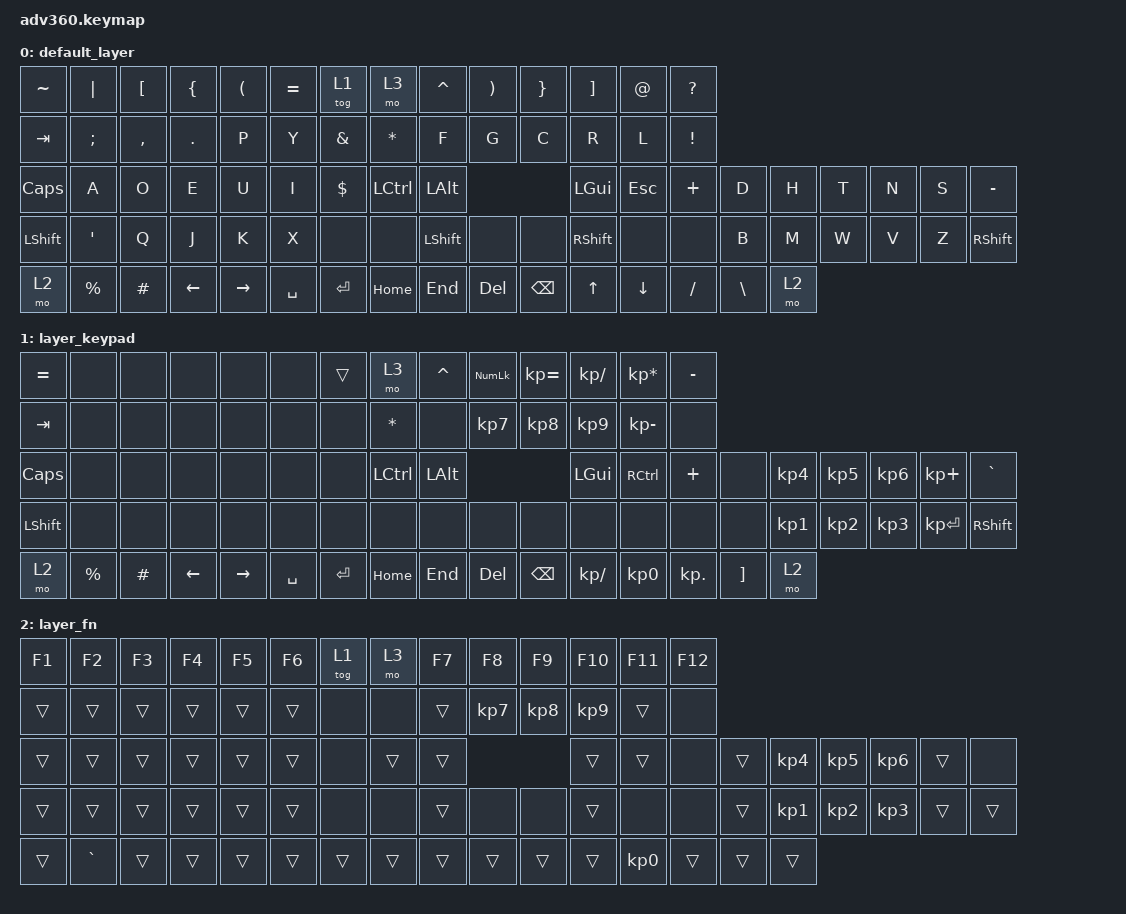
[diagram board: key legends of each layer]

/*
 * Copyright (c) 2020 The ZMK Contributors
 *
 * SPDX-License-Identifier: MIT
 */


/* THIS FILE WAS GENERATED!
 *
 * This file was generated automatically. You may or may not want to
 * edit it directly.
 */

#include <behaviors.dtsi>
#include <dt-bindings/zmk/keys.h>

/ {
  behaviors {
    #include "macros.dtsi"

    hm: homerow_mods {
        compatible = "zmk,behavior-hold-tap";
        label = "HOMEROW_MODS";
        #binding-cells = <2>;
        tapping-term-ms = <200>;
        quick_tap_ms = <175>;
        flavor = "tap-preferred";
        bindings = <&kp>, <&kp>;
    };
  };

    keymap {
        compatible = "zmk,keymap";


        default_layer {
            bindings = <
 &kp TILDE          &kp PIPE  &kp LEFT_BRACKET  &kp LEFT_BRACE  &kp LEFT_PARENTHESIS  &kp EQUAL                   &tog 1         &mo 3       &kp CARET  &kp RIGHT_PARENTHESIS  &kp RIGHT_BRACE  &kp RIGHT_BRACKET    &kp AT     &kp QUESTION
   &kp TAB     &kp SEMICOLON         &kp COMMA      &kp PERIOD                 &kp P      &kp Y            &kp AMPERSAND  &kp ASTERISK           &kp F                  &kp G            &kp C              &kp R     &kp L  &kp EXCLAMATION
  &kp CAPS             &kp A             &kp O           &kp E                 &kp U      &kp I               &kp DOLLAR     &kp LCTRL        &kp LALT                                                   &kp LGUI   &kp ESC         &kp PLUS          &kp D   &kp H   &kp T   &kp N   &kp S  &kp MINUS
 &kp LSHFT  &kp SINGLE_QUOTE             &kp Q           &kp J                 &kp K      &kp X                    &none         &none  &kp LEFT_SHIFT                  &none            &none    &kp RIGHT_SHIFT     &none            &none          &kp B   &kp M   &kp W   &kp V   &kp Z  &kp RSHFT
     &mo 2       &kp PERCENT          &kp HASH        &kp LEFT             &kp RIGHT  &kp SPACE                &kp ENTER      &kp HOME         &kp END             &kp DELETE    &kp BACKSPACE             &kp UP  &kp DOWN        &kp SLASH  &kp BACKSLASH   &mo 2
            >;
        };

        layer_keypad {
            bindings = <
 &kp EQUAL        &none     &none     &none      &none      &none               &trans         &mo 3  &kp CARET  &kp KP_NUM   &kp KP_EQUAL  &kp KP_DIVIDE  &kp KP_MULTIPLY   &kp MINUS
   &kp TAB        &none     &none     &none      &none      &none                &none  &kp ASTERISK      &none   &kp KP_N7      &kp KP_N8      &kp KP_N9     &kp KP_MINUS       &none
  &kp CAPS        &none     &none     &none      &none      &none                &none     &kp LCTRL   &kp LALT                                  &kp LGUI        &kp RCTRL    &kp PLUS     &none  &kp KP_N4  &kp KP_N5  &kp KP_N6   &kp KP_PLUS  &kp GRAVE
 &kp LSHFT        &none     &none     &none      &none      &none                &none         &none      &none       &none          &none          &none            &none       &none     &none  &kp KP_N1  &kp KP_N2  &kp KP_N3  &kp KP_ENTER  &kp RSHFT
     &mo 2  &kp PERCENT  &kp HASH  &kp LEFT  &kp RIGHT  &kp SPACE            &kp ENTER      &kp HOME    &kp END  &kp DELETE  &kp BACKSPACE  &kp KP_DIVIDE        &kp KP_N0  &kp KP_DOT  &kp RBKT      &mo 2
            >;
        };

        layer_fn {
            bindings = <
 &kp F1     &kp F2  &kp F3  &kp F4  &kp F5  &kp F6            &tog 1   &mo 3  &kp F7     &kp F8     &kp F9    &kp F10    &kp F11  &kp F12
 &trans     &trans  &trans  &trans  &trans  &trans             &none   &none  &trans  &kp KP_N7  &kp KP_N8  &kp KP_N9     &trans    &none
 &trans     &trans  &trans  &trans  &trans  &trans             &none  &trans  &trans                           &trans     &trans    &none  &trans  &kp KP_N4  &kp KP_N5  &kp KP_N6  &trans   &none
 &trans     &trans  &trans  &trans  &trans  &trans             &none   &none  &trans      &none      &none     &trans      &none    &none  &trans  &kp KP_N1  &kp KP_N2  &kp KP_N3  &trans  &trans
 &trans  &kp GRAVE  &trans  &trans  &trans  &trans            &trans  &trans  &trans     &trans     &trans     &trans  &kp KP_N0   &trans  &trans     &trans
            >;
        };

    };
};
